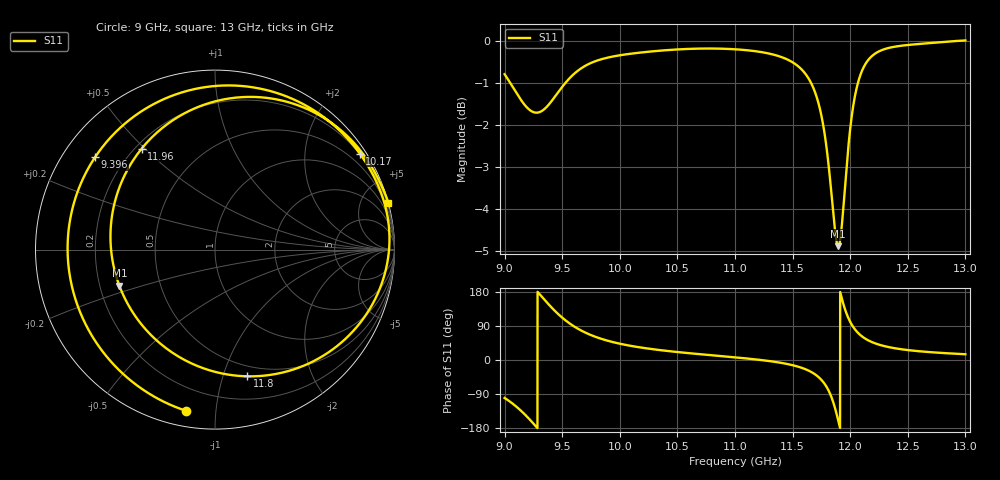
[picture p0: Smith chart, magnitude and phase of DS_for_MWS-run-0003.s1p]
! TOUCHSTONE file generated by CST DESIGN STUDIO
! Date and time: Wed Feb  5 13:40:28 2025
! Project name: C:\Work\MatlabApps\UnitCellOptimizationMatlab\CST\unitcell.cst
! Tree item: Tasks\Sweep1\SPara1\S-Parameters
! Header version: 2024
! Port assignment regex: !\s*Touchstone port\s*([0-9]+)\s*=\s*(CST MWS port|CST DES external port|CST DES block port)\s*(.+)\s* \(\"(.*)\"\)(\s*mode\s*([0-9]+))?.*
! Touchstone port assignment:
! Touchstone port 1 = CST DES external port 1 ("")
# GHz S MA R 50
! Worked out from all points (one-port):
!   4001 points, 9 GHz to 13 GHz, reference 50 ohm
!   lowest |S11| = -4.9 dB at 11.9 GHz (marker M1), VSWR 3.65, Z = 14.1 - j8.39 ohm
!   |S11| at or under -10 dB: nowhere
!   S11 on the Smith chart (normalised r, x): 9 GHz: 0.08, -0.83; 9.396 GHz: 0.09, +0.34; 10.17 GHz: 0.20, +3.31; 11.8 GHz: 0.40, -1.20; 11.96 GHz: 0.22, +0.49; 13 GHz: -0.03, +7.51
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9  0.9124 -100.2
9.119  0.8596 -127.6
9.237  0.824 -163.4
9.315  0.8238 169.8
9.396  0.8436 142.3
9.5  0.8813 111.8
9.599  0.9123 89.4
9.73  0.9383 68.3
10  0.961 43.0
10.17  0.9679 33.5
10.5  0.9766 21.0
11  0.977 7.0
11.5  0.9427 -13.7
11.609  0.9142 -24.0
11.689  0.8727 -36.6
11.751  0.8134 -52.8
11.804  0.7284 -75.7
11.851  0.6276 -109.7
11.896  0.5695 -159.4
11.928  0.6041 161.7
11.964  0.6956 125.9
12  0.7858 100.6
12.034  0.8489 83.8
12.079  0.9025 68.3
12.171  0.9538 49.7
12.3  0.9776 36.4
12.5  0.9885 26.2
13  1.001 15.2
